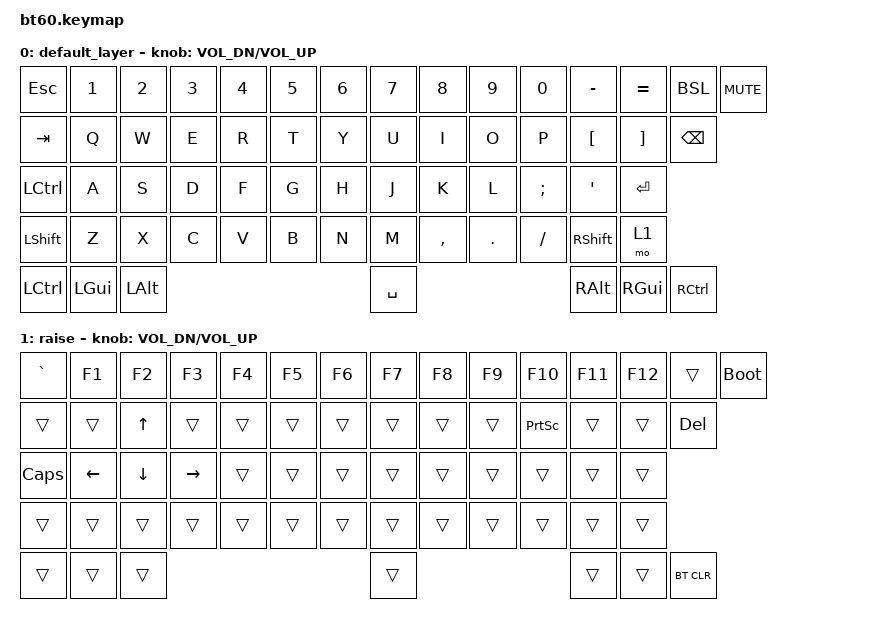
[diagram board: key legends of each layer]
#include <behaviors.dtsi>
#include <dt-bindings/zmk/keys.h>
#include <dt-bindings/zmk/bt.h>

/ {
	keymap {
		compatible = "zmk,keymap";

		default_layer {
				// ------------------------------------------------------------------------------------------
				// | ESC |  1  |  2  |  3  |  4  |  5  |  6  |  7  |  8  |  9  |  0  |  -  |  =  |  \  | `  |
				// | TAB  |  Q  |  W  |  E  |  R  |  T  |  Y  |  U  |  I  |  O  |  P  |  [  |  ]  |  BSPC   |
				// | CTRL  |  A  |  S  |  D  |  F  |  G  |  H  |  J  |  K  |  L  |  ;  |  '  |      ENTER   |
				// |  SHIFT    |  Z  |  X  |  C  |  V  |  B  |  N  |  M  |  ,  |  .  | /   | SHIFT |   1    |
				// |  CAPS  |  ALT  |  WIN |                     SPACE               |   WIN   | ALT | CTRL |
				// ------------------------------------------------------------------------------------------
			bindings = <
				&kp ESC       &kp N1          &kp N2          &kp N3        &kp N4    &kp N5    &kp N6    &kp N7    &kp  N8      &kp  N9     &kp  N0       &kp MINUS     &kp EQUAL          &kp BSL    &kp C_MUTE
				&kp TAB       &kp Q           &kp W           &kp E         &kp R     &kp T     &kp Y     &kp U     &kp  I       &kp  O      &kp  P        &kp LBKT      &kp RBKT           &kp BSPC
				&kp LCTRL     &kp A           &kp S           &kp D         &kp F     &kp G     &kp H     &kp J     &kp  K       &kp  L      &kp SEMI      &kp SQT       &kp RET
				&kp LSHFT     &kp Z           &kp X           &kp C         &kp V     &kp B     &kp N     &kp M     &kp COMMA    &kp DOT     &kp FSLH      &kp RSHFT     &mo 1
				&kp LCTRL     &kp LGUI        &kp LALT                                                    &kp SPACE                                        &kp RALT      &kp RGUI           &kp RCTRL
			>;
			sensor-bindings = <&inc_dec_kp C_VOL_DN C_VOL_UP>;
		};
		raise {
			bindings = <
				&kp GRAVE     &kp F1          &kp F2          &kp F3        &kp F4    &kp F5    &kp F6    &kp F7    &kp F8       &kp F9      &kp F10       &kp F11       &kp F12            &trans      &bootloader
				&trans        &trans          &kp UP          &trans        &trans    &trans    &trans    &trans    &trans       &trans      &kp PSCRN     &trans        &trans             &kp DEL
				&kp CLCK      &kp LEFT        &kp DOWN        &kp RIGHT     &trans    &trans    &trans    &trans    &trans       &trans      &trans        &trans        &trans
				&trans        &trans          &trans          &trans        &trans    &trans    &trans    &trans    &trans       &trans      &trans        &trans        &trans
				&trans        &trans          &trans                                                      &trans                                           &trans        &trans             &bt BT_CLR
			>;
			sensor-bindings = <&inc_dec_kp C_VOL_DN C_VOL_UP>;
		};
	};
};
